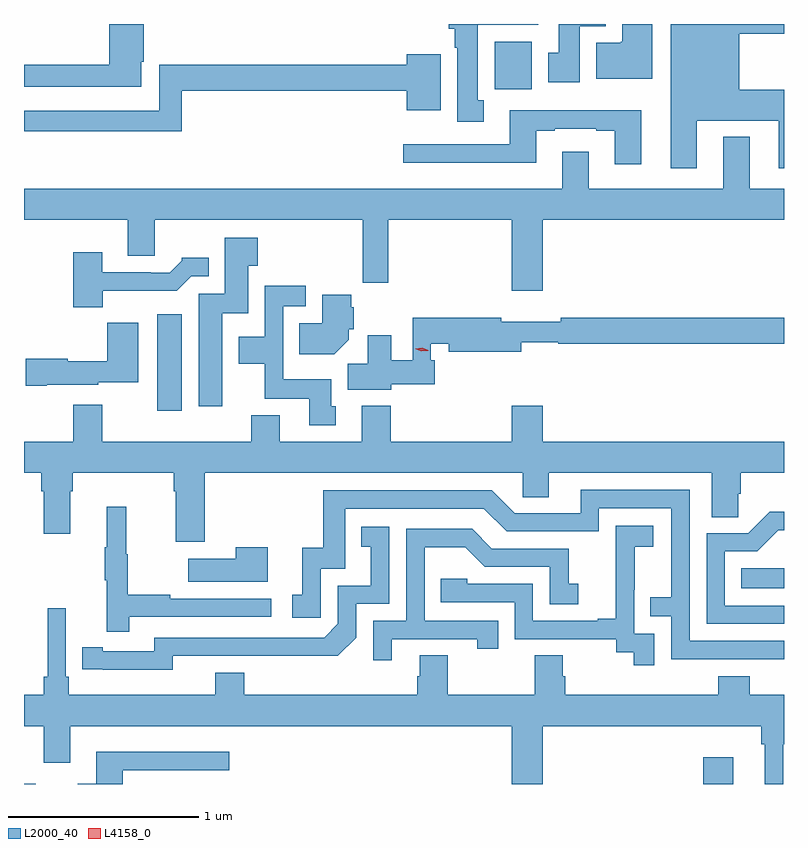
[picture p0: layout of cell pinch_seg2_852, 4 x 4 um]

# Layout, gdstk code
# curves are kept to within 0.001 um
import gdstk
lib = gdstk.Library(unit=1e-6, precision=1e-09)
def R(c, l, rs):  # rectangles x0, y0, x1, y1
    for r in rs: c.add(gdstk.rectangle(r[:2], r[2:], *l))
def P(c, l, *ps):  # polygons
    for p in ps: c.add(gdstk.Polygon(p, *l))
L2000_40 = (2000, 40)
L4158_0 = (4158, 0)

pinch_seg2_852 = lib.new_cell('pinch_seg2_852')
R(pinch_seg2_852, L2000_40, [(510.094,612.699,510.157,612.7), (513.668,612.699,513.826,612.841), (513.868,613.73,514.094,613.834), (510.794,614.664,510.925,615.172), (512.571,616.356,512.767,616.606)])
P(pinch_seg2_852, L2000_40, [(512.515,616.297),(512.482,616.297),(512.482,616.694),(512.8,616.694),(512.8,616.699),(512.33,616.699),(512.33,616.674),(512.36,616.674),(512.36,616.574),(512.375,616.574),(512.375,616.185),(512.515,616.185)],
  [(510.712,616.501),(510.725,616.501),(510.725,616.699),(510.542,616.699),(510.542,616.484),(510.094,616.484),(510.094,616.368),(510.712,616.368)],
  [(513.4,616.699),(513.242,616.699),(513.242,616.606),(513.236,616.606),(513.236,616.6),(513.107,616.6),(513.107,616.412),(513.4,616.412)],
  [(513.019,616.688),(513.157,616.688),(513.157,616.699),(512.909,616.699),(512.909,616.548),(512.852,616.548),(512.852,616.392),(513.019,616.392)],
  [(513.634,616.19),(514.067,616.19),(514.067,615.939),(514.094,615.939),(514.094,616.354),(513.859,616.354),(513.859,616.647),(514.094,616.647),(514.094,616.699),(513.497,616.699),(513.497,615.939),(513.634,615.939)],
  [(510.923,616.348),(512.108,616.348),(512.108,616.244),(512.287,616.244),(512.287,616.54),(512.108,616.54),(512.108,616.484),(510.807,616.484),(510.807,616.242),(510.094,616.242),(510.094,616.134),(510.923,616.134)],
  [(513.343,616.246),(512.651,616.246),(512.651,616.065),(512.091,616.065),(512.091,615.968),(512.791,615.968),(512.791,616.137),(512.887,616.137),(512.887,616.149),(513.107,616.149),(513.107,616.137),(513.203,616.137),(513.203,615.96),(513.343,615.96)],
  [(512.824,615.668),(514.094,615.668),(514.094,615.832),(513.913,615.832),(513.913,616.105),(513.773,616.105),(513.773,615.832),(513.067,615.832),(513.067,616.027),(512.927,616.027),(512.927,615.832),(510.094,615.832),(510.094,615.668),(510.641,615.668),(510.641,615.478),(510.781,615.478),(510.781,615.668),(511.876,615.668),(511.876,615.336),(512.012,615.336),(512.012,615.668),(512.66,615.668),(512.66,615.294),(512.824,615.294)],
  [(511.138,615.176),(511.273,615.176),(511.273,615.427),(511.325,615.427),(511.325,615.574),(511.151,615.574),(511.151,615.279),(511.013,615.279),(511.013,614.688),(511.138,614.688)],
  [(510.508,615.296),(510.899,615.296),(510.975,615.372),(511.066,615.372),(511.066,615.469),(510.924,615.469),(510.924,615.454),(510.86,615.39),(510.761,615.39),(510.761,615.393),(510.505,615.393),(510.505,615.499),(510.353,615.499),(510.353,615.209),(510.508,615.209)],
  [(511.735,614.688),(511.711,614.688),(511.711,614.83),(511.458,614.83),(511.458,615.213),(511.576,615.213),(511.576,615.322),(511.362,615.322),(511.362,615.052),(511.223,615.052),(511.223,614.912),(511.36,614.912),(511.36,614.726),(511.595,614.726),(511.595,614.586),(511.735,614.586)],
  [(511.804,615.038),(511.804,615.093),(511.83,615.093),(511.83,615.207),(511.817,615.207),(511.817,615.274),(511.664,615.274),(511.664,615.124),(511.543,615.124),(511.543,614.96),(511.726,614.96)],
  [(512.026,614.802),(512.255,614.802),(512.255,614.928),(512.235,614.928),(512.235,615.016),(512.33,615.016),(512.33,614.974),(512.71,614.974),(512.71,615.024),(512.906,615.024),(512.906,615.016),(514.094,615.016),(514.094,615.152),(512.92,615.152),(512.92,615.133),(512.606,615.133),(512.606,615.152),(512.139,615.152),(512.139,614.93),(512.026,614.93),(512.026,615.061),(511.904,615.061),(511.904,614.912),(511.799,614.912),(511.799,614.774),(512.026,614.774)],
  [(510.214,614.801),(510.486,614.801),(510.486,614.813),(510.694,614.813),(510.694,615.127),(510.532,615.127),(510.532,614.923),(510.324,614.923),(510.324,614.936),(510.102,614.936),(510.102,614.794),(510.214,614.794)],
  [(511.046,614.336),(512.718,614.336),(512.718,614.209),(512.857,614.209),(512.857,614.336),(513.713,614.336),(513.713,614.104),(513.852,614.104),(513.852,614.227),(513.866,614.227),(513.866,614.336),(514.094,614.336),(514.094,614.5),(512.824,614.5),(512.824,614.689),(512.66,614.689),(512.66,614.5),(512.024,614.5),(512.024,614.689),(511.871,614.689),(511.871,614.5),(511.441,614.5),(511.441,614.641),(511.289,614.641),(511.289,614.5),(510.505,614.5),(510.505,614.695),(510.353,614.695),(510.353,614.5),(510.094,614.5),(510.094,614.336),(510.185,614.336),(510.185,614.24),(510.197,614.24),(510.197,614.016),(510.337,614.016),(510.337,614.24),(510.35,614.24),(510.35,614.336),(510.881,614.336),(510.881,614.24),(510.893,614.24),(510.893,613.974),(511.046,613.974)],
  [(514.094,613.452),(513.597,613.452),(513.597,614.247),(513.023,614.247),(513.023,614.124),(512.676,614.124),(512.556,614.244),(511.669,614.244),(511.669,613.942),(511.559,613.942),(511.559,613.695),(511.506,613.695),(511.506,613.575),(511.656,613.575),(511.656,613.833),(511.785,613.833),(511.785,614.148),(512.514,614.148),(512.634,614.028),(513.12,614.028),(513.12,614.151),(513.501,614.151),(513.501,613.682),(513.391,613.682),(513.391,613.581),(513.501,613.581),(513.501,613.356),(514.094,613.355)],
  [(510.647,613.578),(511.396,613.578),(511.396,613.674),(510.863,613.674),(510.863,613.694),(510.64,613.694),(510.64,613.908),(510.632,613.908),(510.632,614.158),(510.53,614.158),(510.53,613.945),(510.519,613.945),(510.519,613.771),(510.53,613.771),(510.53,613.5),(510.647,613.5)],
  [(514.094,613.638),(513.783,613.638),(513.783,613.923),(513.952,613.923),(514.063,614.034),(514.094,614.034),(514.094,614.132),(514.019,614.132),(513.906,614.019),(513.687,614.019),(513.687,613.542),(514.094,613.542)],
  [(513.411,613.491),(513.306,613.491),(513.306,613.721),(513.308,613.721),(513.308,613.949),(513.406,613.949),(513.406,614.059),(513.208,614.059),(513.208,613.853),(513.209,613.853),(513.209,613.57),(513.113,613.57),(513.113,613.557),(512.772,613.557),(512.772,613.752),(512.427,613.752),(512.427,613.779),(512.287,613.779),(512.287,613.656),(512.676,613.656),(512.676,613.461),(513.21,613.461),(513.21,613.393),(513.303,613.393),(513.303,613.323),(513.411,613.323)],
  [(510.876,613.374),(511.744,613.373),(511.842,613.47),(511.842,613.647),(512.016,613.647),(512.016,614.053),(511.87,614.053),(511.87,613.947),(511.919,613.947),(511.919,613.743),(511.746,613.743),(511.746,613.542),(511.674,613.47),(510.78,613.47),(510.78,613.398),(510.508,613.398),(510.508,613.418),(510.4,613.418),(510.4,613.302),(510.876,613.301)],
  [(512.029,613.461),(512.48,613.461),(512.48,613.41),(512.591,613.41),(512.591,613.557),(512.202,613.557),(512.202,613.946),(512.416,613.946),(512.52,613.842),(512.862,613.842),(512.862,613.644),(513.01,613.644),(513.01,613.753),(512.961,613.753),(512.961,613.938),(512.557,613.938),(512.452,614.043),(512.106,614.043),(512.106,613.557),(511.932,613.557),(511.932,613.35),(512.029,613.35)],
  [(511.378,613.945),(511.208,613.945),(511.208,613.885),(510.959,613.885),(510.959,613.763),(511.378,613.763)],
  [(510.315,613.264),(510.315,613.624),(510.218,613.624),(510.218,613.264),(510.199,613.264),(510.199,613.168),(510.094,613.168),(510.094,613.004),(510.197,613.004),(510.197,612.81),(510.337,612.81),(510.337,613.004),(512.66,613.004),(512.66,612.699),(512.824,612.699),(512.824,613.004),(513.973,613.004),(513.973,612.908),(513.992,612.908),(513.992,612.699),(514.089,612.699),(514.089,612.908),(514.094,612.908),(514.094,613.168),(513.914,613.168),(513.914,613.267),(513.749,613.267),(513.749,613.168),(512.942,613.168),(512.942,613.266),(512.929,613.266),(512.929,613.376),(512.782,613.376),(512.782,613.168),(512.325,613.168),(512.325,613.376),(512.177,613.376),(512.177,613.266),(512.165,613.266),(512.165,613.168),(511.253,613.168),(511.253,613.285),(511.1,613.285),(511.1,613.168),(510.329,613.168),(510.329,613.264)],
  [(510.613,612.771),(511.174,612.771),(511.174,612.868),(510.473,612.868),(510.473,612.7),(510.377,612.7),(510.377,612.699),(510.613,612.699)])
P(pinch_seg2_852, L4158_0, [(512.186,614.976),(512.153,614.991),(512.153,614.991),(512.153,614.991),(512.189,614.996),(512.221,614.981),(512.222,614.981),(512.221,614.98)])

lib.write_gds('pinch_seg2_852.gds')
